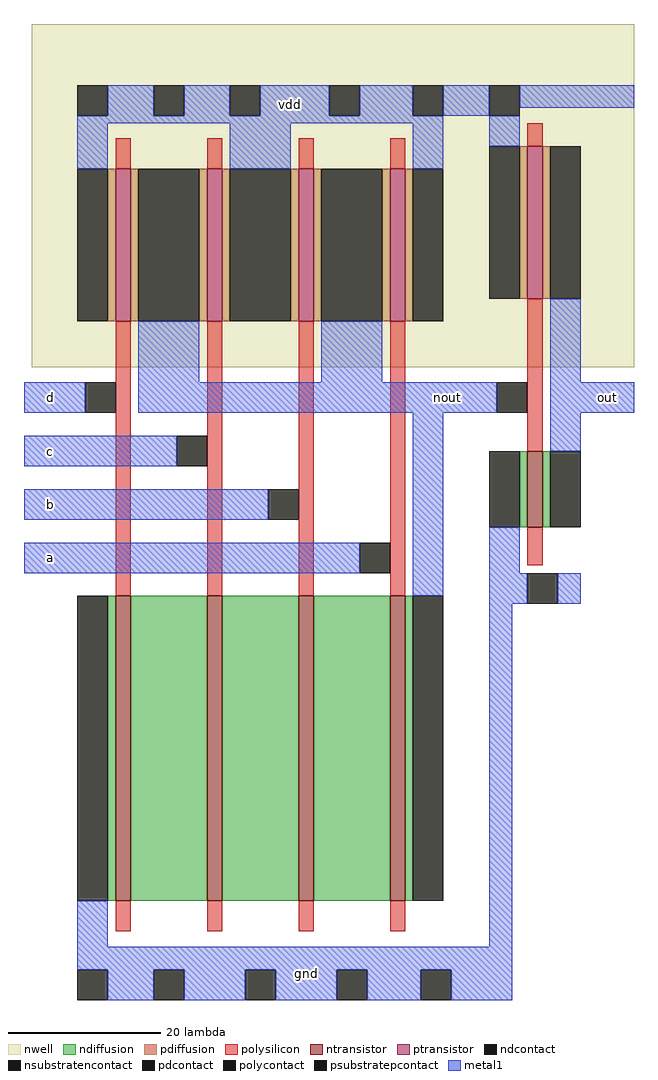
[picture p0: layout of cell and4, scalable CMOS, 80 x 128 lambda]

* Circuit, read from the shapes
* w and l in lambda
.subckt and4 a b c d gnd nout out vdd
M1 n1 d gnd gnd nfet w=40 l=2
M2 n2 c n1 gnd nfet w=40 l=2
M3 n3 b n2 gnd nfet w=40 l=2
M4 nout a n3 gnd nfet w=40 l=2
M5 out nout gnd gnd nfet w=10 l=2
M6 nout d vdd vdd pfet w=20 l=2
M7 vdd c nout vdd pfet w=20 l=2
M8 nout b vdd vdd pfet w=20 l=2
M9 vdd a nout vdd pfet w=20 l=2
M10 out nout vdd vdd pfet w=20 l=2
.ends

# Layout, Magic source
magic
tech scmos
<< nwell >>
rect -25 -14 54 31
<< ntransistor >>
rect 40 -35 42 -25
rect -14 -84 -12 -44
rect -2 -84 0 -44
rect 10 -84 12 -44
rect 22 -84 24 -44
<< ptransistor >>
rect -14 -8 -12 12
rect -2 -8 0 12
rect 10 -8 12 12
rect 22 -8 24 12
rect 40 -5 42 15
<< ndiffusion >>
rect 39 -35 40 -25
rect 42 -35 43 -25
rect -15 -84 -14 -44
rect -12 -84 -2 -44
rect 0 -84 10 -44
rect 12 -84 22 -44
rect 24 -84 25 -44
<< pdiffusion >>
rect -15 -8 -14 12
rect -12 -8 -11 12
rect -3 -8 -2 12
rect 0 -8 1 12
rect 9 -8 10 12
rect 12 -8 13 12
rect 21 -8 22 12
rect 24 -8 25 12
rect 39 -5 40 15
rect 42 -5 43 15
<< ndcontact >>
rect 35 -35 39 -25
rect 43 -35 47 -25
rect -19 -84 -15 -44
rect 25 -84 29 -44
<< pdcontact >>
rect -19 -8 -15 12
rect -11 -8 -3 12
rect 1 -8 9 12
rect 13 -8 21 12
rect 25 -8 29 12
rect 35 -5 39 15
rect 43 -5 47 15
<< psubstratepcontact >>
rect 40 -45 44 -41
rect -19 -97 -15 -93
rect -9 -97 -5 -93
rect 3 -97 7 -93
rect 15 -97 19 -93
rect 26 -97 30 -93
<< nsubstratencontact >>
rect -19 19 -15 23
rect -9 19 -5 23
rect 1 19 5 23
rect 14 19 18 23
rect 25 19 29 23
rect 35 19 39 23
<< polysilicon >>
rect -14 12 -12 16
rect -2 12 0 16
rect 10 12 12 16
rect 22 12 24 16
rect 40 15 42 18
rect -14 -44 -12 -8
rect -2 -44 0 -8
rect 10 -44 12 -8
rect 22 -44 24 -8
rect 40 -25 42 -5
rect 40 -40 42 -35
rect -14 -88 -12 -84
rect -2 -88 0 -84
rect 10 -88 12 -84
rect 22 -88 24 -84
<< polycontact >>
rect -18 -20 -14 -16
rect -6 -27 -2 -23
rect 6 -34 10 -30
rect 18 -41 22 -37
rect 36 -20 40 -16
<< metal1 >>
rect -15 19 -9 23
rect -5 19 1 23
rect 5 19 14 23
rect 18 19 25 23
rect 29 19 35 23
rect 39 20 54 23
rect -19 18 29 19
rect -19 12 -15 18
rect 1 12 9 18
rect 25 12 29 18
rect 35 15 39 19
rect -11 -16 -3 -8
rect 13 -16 21 -8
rect 43 -16 47 -5
rect -26 -20 -18 -16
rect -11 -20 36 -16
rect 43 -20 54 -16
rect -26 -27 -6 -23
rect -26 -34 6 -30
rect -26 -41 18 -37
rect 25 -44 29 -20
rect 43 -25 47 -20
rect 35 -41 39 -35
rect 35 -45 40 -41
rect 44 -45 47 -41
rect -19 -90 -15 -84
rect 35 -90 38 -45
rect -19 -93 38 -90
rect -15 -97 -9 -93
rect -5 -97 3 -93
rect 7 -97 15 -93
rect 19 -97 26 -93
rect 30 -97 38 -93
<< labels >>
rlabel metal1 8 -97 14 -90 1 gnd
rlabel metal1 5 18 13 23 1 vdd
rlabel metal1 -26 -20 -19 -16 3 d
rlabel metal1 -26 -27 -19 -23 3 c
rlabel metal1 -26 -34 -19 -30 3 b
rlabel metal1 -26 -41 -19 -37 3 a
rlabel metal1 26 -20 33 -16 1 nout
rlabel metal1 47 -20 54 -16 7 out
<< end >>
